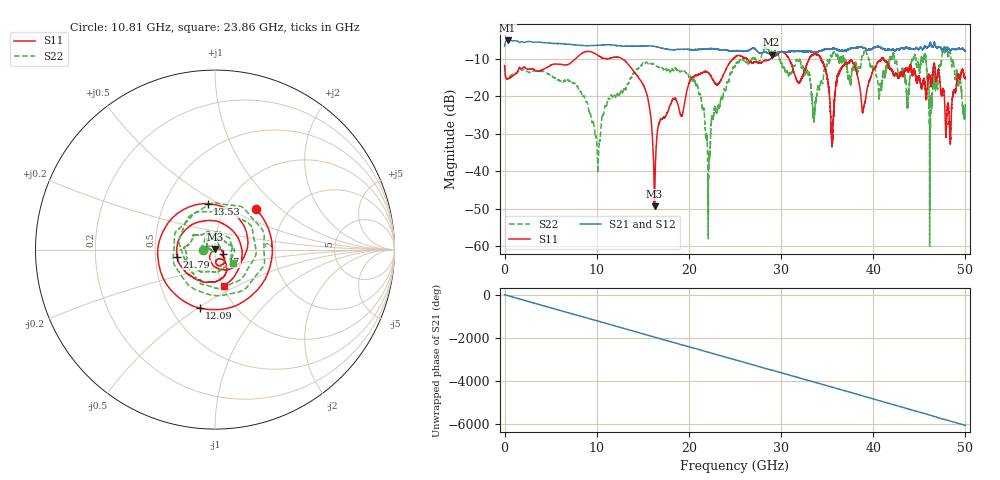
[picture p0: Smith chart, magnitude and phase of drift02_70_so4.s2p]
!Created with skrf (http://scikit-rf.org).
# Hz S RI R 50.0
!freq ReS11 ImS11 ReS21 ImS21 ReS12 ImS12 ReS22 ImS22
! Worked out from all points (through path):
!   10001 points, 300 kHz to 50 GHz, reference 50 ohm
!   highest |S21| = -5.04 dB at 325.3 MHz (marker M1); lowest = -8.9 dB at 28.98 GHz (marker M2)
!   group delay of S21, straight-line fit = 336 ps
!   lowest |S11| = -49.4 dB at 16.27 GHz (marker M3), VSWR 1.01, Z = 49.9 + j0.314 ohm
!   |S11| at or under -10 dB: start of sweep to 7.669 GHz; 12.82 GHz to 24.79 GHz (11.97 GHz wide, 63.6 % of centre); 41.14 GHz to end of sweep (the widest 3 of 8)
!   |S22| runs from -60.1 to -6.7 dB; largest |S21 - S12| = 0.03
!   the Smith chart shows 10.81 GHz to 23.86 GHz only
!   S11 on the Smith chart (normalised r, x): 10.81 GHz: 1.38, +0.70; 12.09 GHz: 0.69, -0.51; 13.53 GHz: 0.81, +0.44; 17 GHz: 1.09, -0.06; 21.79 GHz: 0.65, -0.05; 23.86 GHz: 1.01, -0.42
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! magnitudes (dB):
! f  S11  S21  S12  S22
! 300 kHz  -11.8  -6.6  -6.5  -11.7
! 325.3 MHz  -15.3  -5.0  -5.0  -15.1
! 8.335 GHz  -8.6  -6.4  -6.4  -19.1
! 10.11 GHz  -9.0  -6.3  -6.3  -39.0
! 10.81 GHz  -9.8  -6.2  -6.2  -23.6
! 12.09 GHz  -9.5  -6.4  -6.4  -20.4
! 13.53 GHz  -11.7  -6.6  -6.6  -16.1
! 16.27 GHz  -49.4  -6.6  -6.6  -11.7
! 16.67 GHz  -27.9  -6.8  -6.8  -12.1
! 17 GHz  -26.1  -7.1  -7.0  -12.5
! 21.79 GHz  -13.3  -7.3  -7.4  -29.5
! 23.86 GHz  -13.7  -7.5  -7.6  -18.1
! 25 GHz  -9.5  -7.8  -7.8  -11.9
! 28.98 GHz  -9.8  -8.9  -8.8  -8.0
! 33.34 GHz  -9.1  -8.0  -8.0  -19.9
! 35.53 GHz  -31.3  -7.3  -7.3  -9.2
! 36.8 GHz  -11.8  -7.9  -7.8  -10.1
! 41.67 GHz  -11.9  -7.4  -7.5  -11.5
! 45.5 GHz  -15.4  -6.9  -6.9  -9.4
! 46.24 GHz  -16.8  -5.9  -6.0  -22.7
! 48.13 GHz  -22.0  -7.2  -7.1  -8.8
! 50 GHz  -15.2  -7.9  -7.9  -22.5
